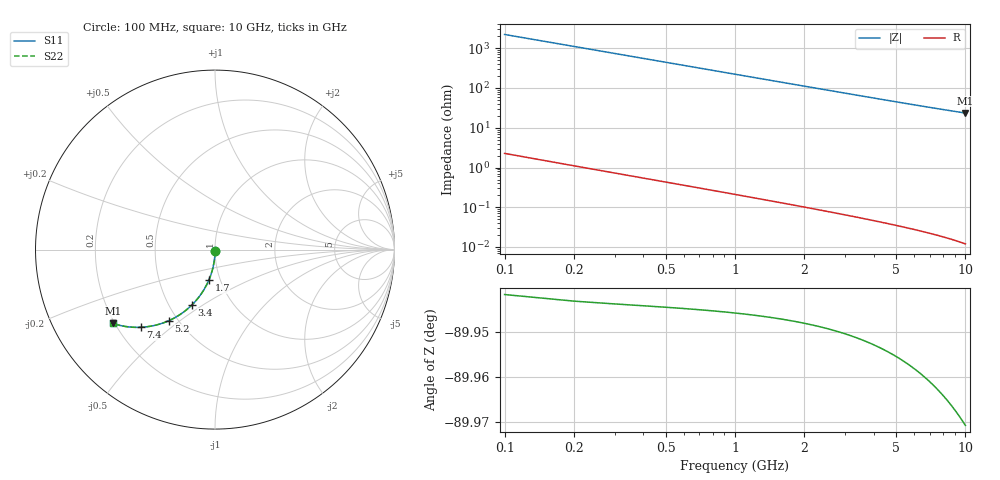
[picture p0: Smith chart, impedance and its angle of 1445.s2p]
# Hz S RI R 50.00
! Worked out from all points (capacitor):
!   100 points, 100 MHz to 10 GHz, reference 50 ohm
!   read as one part in shunt: C = 716 fF near 100 MHz
!   lowest |Z| = 23.5 ohm at 10 GHz (marker M1)
!   S11 on the Smith chart (normalised r, x): 100 MHz: 1.00, -0.02; 1.7 GHz: 0.88, -0.31; 3.4 GHz: 0.65, -0.45; 5.2 GHz: 0.45, -0.46; 7.4 GHz: 0.29, -0.40; 10 GHz: 0.19, -0.31
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1e8  0.000311 -0.0104  0.9994 -0.012  0.9994 -0.012  0.000311 -0.0104
2e8  -7.43e-05 -0.0209  0.999 -0.0241  0.999 -0.0241  -7.43e-05 -0.0209
3e8  -0.000711 -0.0313  0.9984 -0.0361  0.9984 -0.0361  -0.000711 -0.0313
4e8  -0.0016 -0.0417  0.9975 -0.0481  0.9975 -0.0481  -0.0016 -0.0417
5e8  -0.00273 -0.052  0.9963 -0.06  0.9963 -0.06  -0.00273 -0.052
6e8  -0.00411 -0.0624  0.9949 -0.0719  0.9949 -0.0719  -0.00411 -0.0624
8e8  -0.00761 -0.0828  0.9914 -0.0956  0.9914 -0.0956  -0.00761 -0.0828
1.1e9  -0.0147 -0.113  0.9843 -0.1306  0.9843 -0.1306  -0.0147 -0.113
1.4e9  -0.0238 -0.1425  0.9751 -0.1648  0.9751 -0.1648  -0.0238 -0.1425
1.7e9  -0.0348 -0.1709  0.9639 -0.1981  0.9639 -0.1981  -0.0348 -0.1709
1.8e9  -0.0389 -0.1802  0.9597 -0.2089  0.9597 -0.2089  -0.0389 -0.1802
2.1e9  -0.0524 -0.2071  0.9461 -0.2406  0.9461 -0.2406  -0.0524 -0.2071
2.5e9  -0.0729 -0.2409  0.9253 -0.2809  0.9253 -0.2809  -0.0729 -0.2409
2.9e9  -0.0959 -0.2722  0.9021 -0.3185  0.9021 -0.3185  -0.0959 -0.2722
3.4e9  -0.1276 -0.3072  0.87 -0.3616  0.87 -0.3616  -0.1276 -0.3072
4.2e9  -0.183 -0.3538  0.8137 -0.4212  0.8137 -0.4212  -0.183 -0.3538
5.1e9  -0.2493 -0.3923  0.7464 -0.4743  0.7464 -0.4743  -0.2493 -0.3923
5.2e9  -0.2567 -0.3957  0.7388 -0.4793  0.7388 -0.4793  -0.2567 -0.3957
6.7e9  -0.3666 -0.4281  0.6264 -0.5364  0.6264 -0.5364  -0.3666 -0.4281
7.4e9  -0.4151 -0.4328  0.5766 -0.5529  0.5766 -0.5529  -0.4151 -0.4328
8.4e9  -0.4794 -0.4307  0.5101 -0.5676  0.5101 -0.5676  -0.4794 -0.4307
1e10  -0.5691 -0.4113  0.4162 -0.5757  0.4162 -0.5757  -0.5691 -0.4113
